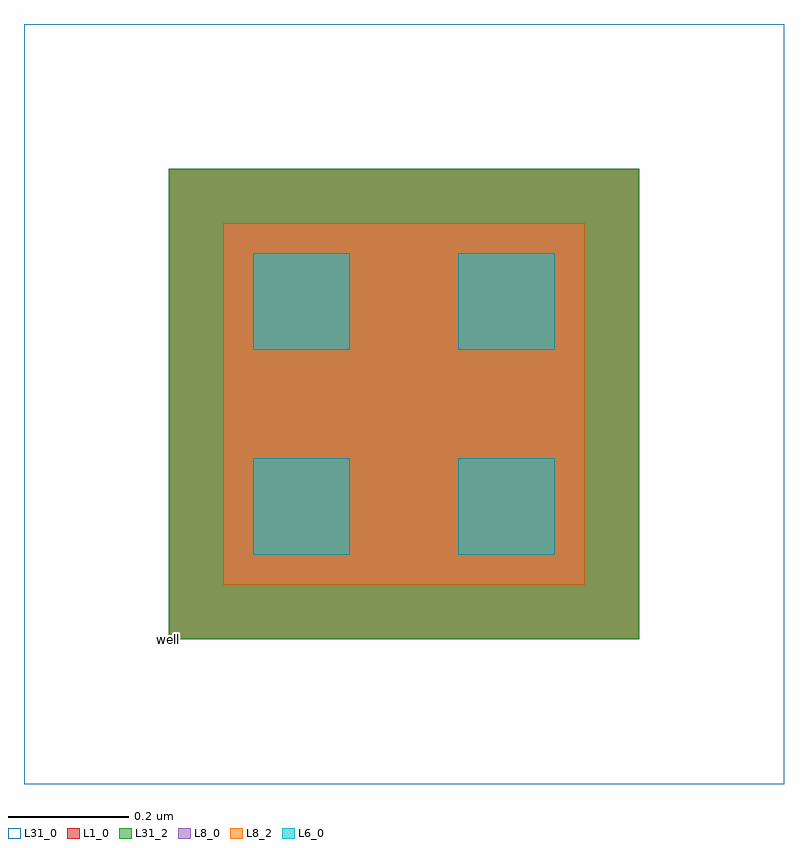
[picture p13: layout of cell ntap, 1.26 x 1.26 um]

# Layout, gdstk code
import gdstk
lib = gdstk.Library(unit=1e-6, precision=1e-09)
def R(c, l, rs):  # rectangles x0, y0, x1, y1
    for r in rs: c.add(gdstk.rectangle(r[:2], r[2:], *l))
L1_0 = (1, 0)
L6_0 = (6, 0)
L8_0 = (8, 0)
L8_2 = (8, 2)
L31_0 = (31, 0)
L31_2 = (31, 2)

ntap = lib.new_cell('ntap')
R(ntap, L1_0, [(0,0,0.78,0.78), (0,0,0.78,0.78)])
R(ntap, L6_0, [(0.14,0.14,0.3,0.3), (0.14,0.14,0.3,0.3), (0.48,0.14,0.64,0.3), (0.48,0.14,0.64,0.3), (0.14,0.48,0.3,0.64), (0.14,0.48,0.3,0.64), (0.48,0.48,0.64,0.64), (0.48,0.48,0.64,0.64)])
R(ntap, L8_0, [(0.09,0.09,0.69,0.69), (0.09,0.09,0.69,0.69)])
R(ntap, L8_2, [(0.09,0.09,0.69,0.69), (0.09,0.09,0.69,0.69)])
R(ntap, L31_0, [(-0.24,-0.24,1.02,1.02), (-0.24,-0.24,1.02,1.02)])
R(ntap, L31_2, [(0,0,0.78,0.78), (0,0,0.78,0.78)])
ntap.add(gdstk.Label('well', (0,0), layer=63, texttype=0))
ntap.add(gdstk.Label('well', (0,0), layer=63, texttype=0))

lib.write_gds('ntap.gds')
